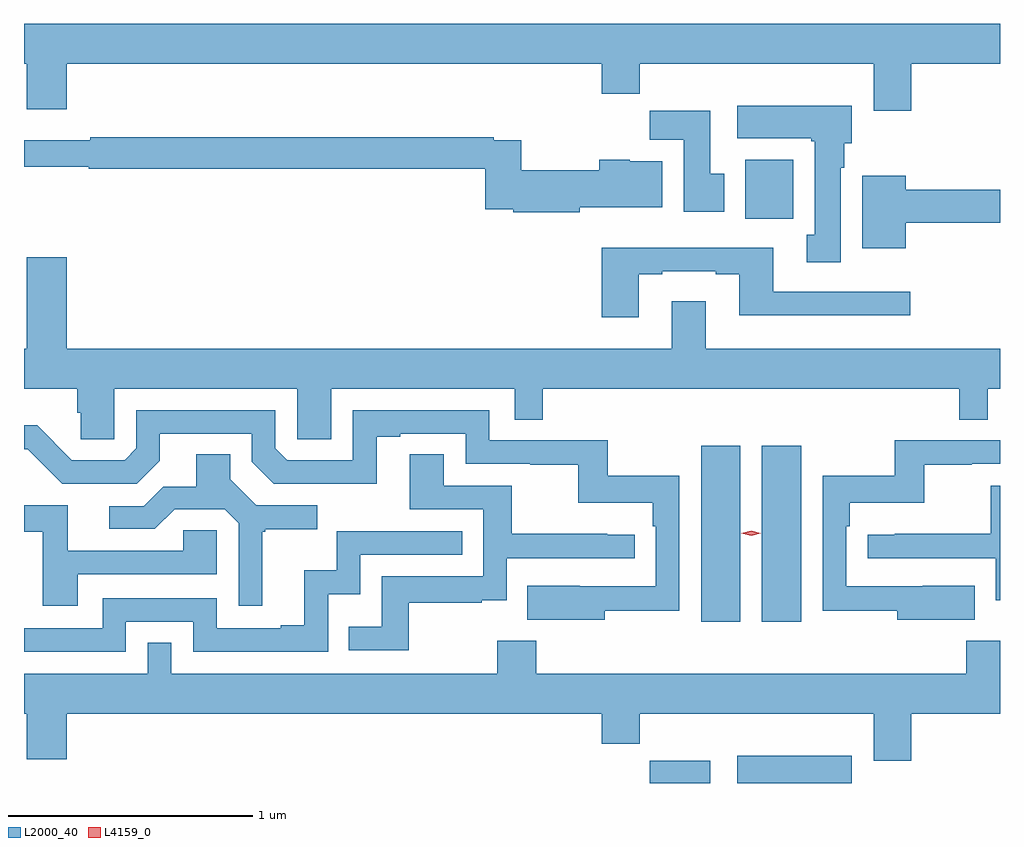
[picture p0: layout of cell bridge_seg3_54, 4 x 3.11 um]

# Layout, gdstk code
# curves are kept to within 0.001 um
import gdstk
lib = gdstk.Library(unit=1e-6, precision=1e-09)
def R(c, l, rs):  # rectangles x0, y0, x1, y1
    for r in rs: c.add(gdstk.rectangle(r[:2], r[2:], *l))
def P(c, l, *ps):  # polygons
    for p in ps: c.add(gdstk.Polygon(p, *l))
L2000_40 = (2000, 40)
L4159_0 = (4159, 0)

bridge_seg3_54 = lib.new_cell('bridge_seg3_54')
R(bridge_seg3_54, L2000_40, [(1102.624,667.33,1102.873,667.423), (1102.983,667.33,1103.452,667.444), (1102.835,667.992,1102.996,668.713), (1103.084,667.992,1103.245,668.713), (1103.015,669.644,1103.212,669.886)])
P(bridge_seg3_54, L2000_40, [(1103.696,670.28),(1104.06,670.28),(1104.06,670.444),(1100.06,670.444),(1100.06,670.28),(1100.072,670.28),(1100.072,670.092),(1100.236,670.092),(1100.236,670.28),(1102.427,670.28),(1102.427,670.156),(1102.583,670.156),(1102.583,670.28),(1103.543,670.28),(1103.543,670.086),(1103.696,670.086)],
  [(1103.407,669.854),(1103.422,669.854),(1103.422,669.954),(1103.452,669.954),(1103.452,670.108),(1102.983,670.108),(1102.983,669.974),(1103.287,669.974),(1103.287,669.961),(1103.3,669.961),(1103.3,669.578),(1103.267,669.578),(1103.267,669.465),(1103.407,669.465)],
  [(1102.93,669.828),(1102.873,669.828),(1102.873,670.087),(1102.624,670.087),(1102.624,669.968),(1102.763,669.968),(1102.763,669.672),(1102.93,669.672)],
  [(1102.338,669.692),(1102.675,669.692),(1102.675,669.88),(1102.542,669.88),(1102.542,669.886),(1102.417,669.886),(1102.417,669.843),(1102.098,669.843),(1102.098,669.966),(1101.986,669.966),(1101.986,669.979),(1100.332,669.979),(1100.332,669.966),(1100.06,669.966),(1100.06,669.858),(1100.325,669.858),(1100.325,669.85),(1101.95,669.85),(1101.95,669.683),(1102.066,669.683),(1102.066,669.671),(1102.338,669.671)],
  [(1103.674,669.628),(1104.06,669.628),(1104.06,669.764),(1103.674,669.764),(1103.674,669.82),(1103.495,669.82),(1103.495,669.524),(1103.674,669.524)],
  [(1102.579,669.417),(1102.675,669.417),(1102.675,669.429),(1102.895,669.429),(1102.895,669.417),(1102.991,669.417),(1102.991,669.248),(1103.692,669.248),(1103.692,669.345),(1103.131,669.345),(1103.131,669.526),(1102.427,669.526),(1102.427,669.24),(1102.579,669.24)],
  [(1100.43,668.948),(1101.18,668.948),(1101.18,668.74),(1101.319,668.74),(1101.319,668.948),(1102.071,668.948),(1102.071,668.821),(1102.187,668.821),(1102.187,668.948),(1103.893,668.948),(1103.893,668.821),(1104.009,668.821),(1104.009,668.948),(1104.06,668.948),(1104.06,669.112),(1102.855,669.112),(1102.855,669.307),(1102.715,669.307),(1102.715,669.112),(1100.236,669.112),(1100.236,669.487),(1100.072,669.487),(1100.072,669.112),(1100.06,669.112),(1100.06,668.948),(1100.279,668.948),(1100.279,668.85),(1100.293,668.85),(1100.293,668.74),(1100.43,668.74)],
  [(1102.441,668.038),(1102.746,668.038),(1102.746,668.59),(1102.453,668.59),(1102.453,668.736),(1101.966,668.736),(1101.966,668.859),(1101.408,668.859),(1101.408,668.655),(1101.138,668.655),(1101.09,668.703),(1101.09,668.859),(1100.52,668.859),(1100.52,668.703),(1100.472,668.655),(1100.256,668.655),(1100.114,668.797),(1100.06,668.797),(1100.06,668.7),(1100.076,668.7),(1100.217,668.559),(1100.523,668.559),(1100.617,668.653),(1100.617,668.763),(1100.994,668.763),(1100.994,668.649),(1101.084,668.559),(1101.505,668.558),(1101.505,668.751),(1101.601,668.751),(1101.601,668.763),(1101.87,668.763),(1101.87,668.64),(1102.135,668.64),(1102.135,668.635),(1102.332,668.635),(1102.332,668.48),(1102.637,668.48),(1102.637,668.384),(1102.65,668.384),(1102.65,668.139),(1102.123,668.14),(1102.123,668),(1102.441,668)],
  [(1103.957,668.14),(1103.743,668.14),(1103.743,668.139),(1103.43,668.139),(1103.43,668.384),(1103.444,668.384),(1103.444,668.48),(1103.749,668.48),(1103.749,668.635),(1103.945,668.635),(1103.945,668.64),(1104.06,668.64),(1104.06,668.736),(1103.628,668.736),(1103.628,668.59),(1103.334,668.59),(1103.334,668.038),(1103.639,668.038),(1103.639,668),(1103.957,668)],
  [(1101.637,668.07),(1101.935,668.07),(1101.935,668.081),(1102.038,668.081),(1102.038,668.253),(1102.564,668.253),(1102.564,668.349),(1102.451,668.349),(1102.451,668.354),(1102.058,668.354),(1102.058,668.55),(1101.781,668.55),(1101.781,668.678),(1101.641,668.678),(1101.641,668.454),(1101.942,668.454),(1101.942,668.178),(1101.526,668.178),(1101.526,667.972),(1101.391,667.972),(1101.391,667.875),(1101.637,667.875)],
  [(1101.037,668.361),(1101.049,668.361),(1101.049,668.372),(1101.262,668.372),(1101.262,668.469),(1101.012,668.469),(1100.905,668.576),(1100.905,668.678),(1100.765,668.678),(1100.765,668.546),(1100.63,668.546),(1100.55,668.466),(1100.409,668.466),(1100.409,668.373),(1100.596,668.373),(1100.677,668.454),(1100.883,668.454),(1100.94,668.397),(1100.94,668.058),(1101.037,668.058)],
  [(1104.06,668.55),(1104.022,668.55),(1104.022,668.354),(1103.629,668.354),(1103.629,668.349),(1103.517,668.349),(1103.517,668.253),(1104.042,668.253),(1104.042,668.081),(1104.06,668.081)],
  [(1100.281,668.187),(1100.85,668.187),(1100.85,668.367),(1100.713,668.367),(1100.713,668.283),(1100.239,668.283),(1100.239,668.469),(1100.06,668.469),(1100.06,668.361),(1100.137,668.361),(1100.137,668.058),(1100.281,668.058)],
  [(1100.478,667.992),(1100.754,667.992),(1100.754,667.869),(1101.306,667.869),(1101.306,668.105),(1101.438,668.105),(1101.438,668.268),(1101.857,668.268),(1101.857,668.364),(1101.342,668.364),(1101.342,668.203),(1101.209,668.203),(1101.209,667.978),(1101.113,667.978),(1101.113,667.965),(1100.85,667.965),(1100.85,668.088),(1100.382,668.088),(1100.382,667.965),(1100.06,667.965),(1100.06,667.869),(1100.478,667.869)],
  [(1102.427,667.492),(1102.583,667.492),(1102.583,667.616),(1103.543,667.616),(1103.543,667.422),(1103.696,667.422),(1103.696,667.616),(1104.06,667.616),(1104.06,667.915),(1103.921,667.915),(1103.921,667.78),(1102.16,667.78),(1102.16,667.915),(1102,667.915),(1102,667.78),(1100.664,667.78),(1100.664,667.907),(1100.568,667.907),(1100.568,667.78),(1100.06,667.78),(1100.06,667.616),(1100.072,667.616),(1100.072,667.428),(1100.236,667.428),(1100.236,667.616),(1102.427,667.616)])
P(bridge_seg3_54, L4159_0, [(1103.04,668.345),(1103,668.355),(1103,668.355),(1103,668.355),(1103.04,668.365),(1103.08,668.355),(1103.08,668.355),(1103.08,668.355)])

lib.write_gds('bridge_seg3_54.gds')
